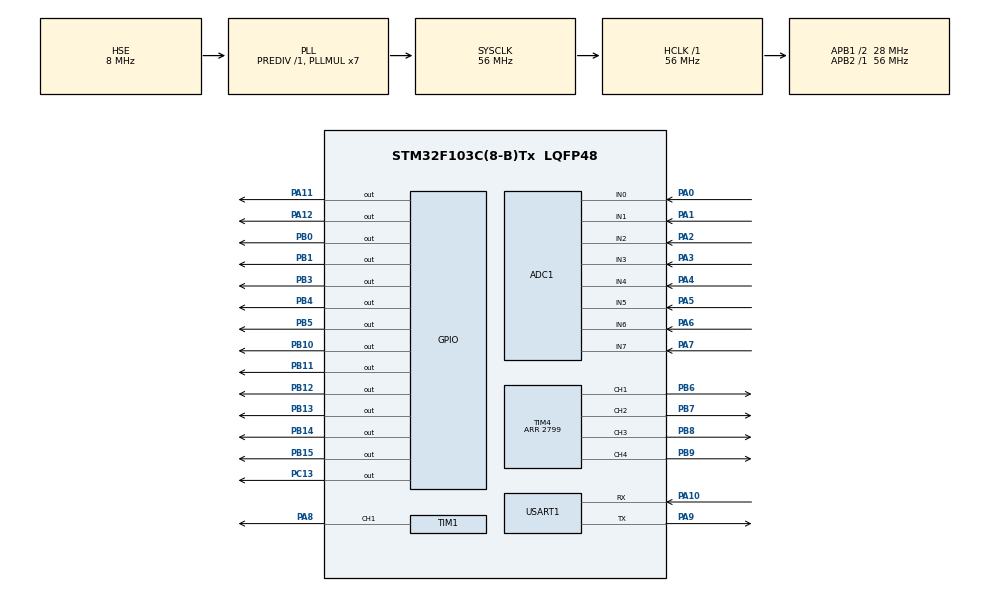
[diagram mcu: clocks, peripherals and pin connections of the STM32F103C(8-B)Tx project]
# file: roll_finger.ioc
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Mcu.Family=STM32F1
FREERTOS.Queues01=myQueue01,128,uint16_t,0,Dynamic,NULL,NULL
Dma.TIM2_CH1.2.MemInc=DMA_MINC_DISABLE
Dma.TIM2_CH1.2.PeriphDataAlignment=DMA_PDATAALIGN_HALFWORD
ADC1.Rank-14\#ChannelRegularConversion=6
FREERTOS.BinarySemaphores01=BinSem,Dynamic,NULL
NVIC.DMA1_Channel5_IRQn=true\:5\:0\:false\:false\:true\:true\:false\:true
ADC1.ContinuousConvMode=ENABLE
SH.ADCx_IN2.0=ADC1_IN2,IN2
PB11.Signal=GPIO_Output
ADC1.SamplingTime-12\#ChannelRegularConversion=ADC_SAMPLETIME_41CYCLES_5
PB13.Signal=GPIO_Output
PB15.Signal=GPIO_Output
Dma.TIM2_UP.3.Priority=DMA_PRIORITY_VERY_HIGH
ADC1.Channel-14\#ChannelRegularConversion=ADC_CHANNEL_7
ADC1.Channel-8\#ChannelRegularConversion=ADC_CHANNEL_1
RCC.SYSCLKSource=RCC_SYSCLKSOURCE_PLLCLK
ProjectManager.StackSize=0x400
PD1-OSC_OUT.Signal=RCC_OSC_OUT
Dma.TIM2_CH2/CH4.1.Direction=DMA_MEMORY_TO_PERIPH
Dma.TIM2_CH1.2.Mode=DMA_CIRCULAR
Dma.TIM2_CH1.2.PeriphInc=DMA_PINC_DISABLE
PA12.Signal=GPIO_Output
Dma.TIM2_UP.3.PeriphInc=DMA_PINC_DISABLE
Dma.TIM2_CH1.2.MemDataAlignment=DMA_MDATAALIGN_HALFWORD
RCC.HCLKFreq_Value=56000000
SH.ADCx_IN3.0=ADC1_IN3,IN3
Dma.TIM2_UP.3.Direction=DMA_MEMORY_TO_PERIPH
RCC.APB2TimFreq_Value=56000000
PB6.Signal=S_TIM4_CH1
Dma.ADC1.0.Direction=DMA_PERIPH_TO_MEMORY
Dma.TIM2_CH2/CH4.1.PeriphInc=DMA_PINC_DISABLE
Dma.ADC1.0.MemDataAlignment=DMA_MDATAALIGN_WORD
RCC.AHBFreq_Value=56000000
TIM4.Channel-PWM\ Generation3\ CH3=TIM_CHANNEL_3
FREERTOS.configUSE_TIMERS=1
VP_TIM2_VS_no_output1.Mode=PWM Generation1 No Output
TIM2.Channel-PWM\ Generation2\ No\ Output=TIM_CHANNEL_2
RCC.PLLMUL=RCC_PLL_MUL7
Dma.TIM2_UP.3.Mode=DMA_CIRCULAR
TIM1.Channel-PWM\ Generation1\ CH1=TIM_CHANNEL_1
PA14.Mode=Serial_Wire
Dma.ADC1.0.PeriphInc=DMA_PINC_DISABLE
SH.S_TIM4_CH2.0=TIM4_CH2,PWM Generation2 CH2
PB7.Signal=S_TIM4_CH2
PA8.Signal=S_TIM1_CH1
SH.ADCx_IN0.0=ADC1_IN0,IN0
TIM4.Period=2799
VP_FREERTOS_VS_CMSIS_V1.Mode=CMSIS_V1
ADC1.Channel-15\#ChannelRegularConversion=ADC_CHANNEL_6
FREERTOS.configTIMER_TASK_PRIORITY=5
VP_TIM1_VS_ClockSourceINT.Mode=Internal
ADC1.Rank-15\#ChannelRegularConversion=7
Dma.TIM2_UP.3.PeriphDataAlignment=DMA_PDATAALIGN_HALFWORD
Mcu.Package=LQFP48
PB9.Signal=S_TIM4_CH4
PB1.Signal=GPIO_Output
PA6.Signal=ADCx_IN6
ADC1.EnableInjectedConversion=DISABLE
NVIC.TimeBase=TIM3_IRQn
Dma.TIM2_CH2/CH4.1.MemInc=DMA_MINC_DISABLE
ADC1.SamplingTime-13\#ChannelRegularConversion=ADC_SAMPLETIME_41CYCLES_5
NVIC.TimeBaseIP=TIM3
PA10.Signal=USART1_RX
SH.ADCx_IN1.0=ADC1_IN1,IN1
ADC1.SamplingTime-15\#ChannelRegularConversion=ADC_SAMPLETIME_41CYCLES_5
Dma.TIM2_CH2/CH4.1.Instance=DMA1_Channel7
SH.S_TIM4_CH1.0=TIM4_CH1,PWM Generation1 CH1
Dma.Request2=TIM2_CH1
Dma.Request1=TIM2_CH2/CH4
RCC.APB1TimFreq_Value=56000000
Dma.Request3=TIM2_UP
TIM1.Period=2799
NVIC.USART1_IRQn=true\:5\:0\:false\:false\:true\:true\:true\:true
TIM4.Channel-PWM\ Generation4\ CH4=TIM_CHANNEL_4
Dma.Request0=ADC1
ADC1.SamplingTime-8\#ChannelRegularConversion=ADC_SAMPLETIME_41CYCLES_5
PB4.Signal=GPIO_Output
PA3.Signal=ADCx_IN3
RCC.PLLSourceVirtual=RCC_PLLSOURCE_HSE
TIM4.Channel-PWM\ Generation1\ CH1=TIM_CHANNEL_1
Dma.ADC1.0.Instance=DMA1_Channel1
FREERTOS.Tasks01=adcreader,0,128,adc_reader_task,Default,NULL,Dynamic,NULL,NULL;serialreader,2,128,serial_reader_task,Default,NULL,Dynamic,NULL,NULL
PD1-OSC_OUT.Mode=HSE-External-Oscillator
PA10.Mode=Asynchronous
Dma.TIM2_UP.3.MemDataAlignment=DMA_MDATAALIGN_HALFWORD
SH.ADCx_IN6.0=ADC1_IN6,IN6
SH.S_TIM4_CH4.0=TIM4_CH4,PWM Generation4 CH4
ADC1.Rank-8\#ChannelRegularConversion=2
PC13-TAMPER-RTC.Signal=GPIO_Output
Dma.TIM2_CH2/CH4.1.PeriphDataAlignment=DMA_PDATAALIGN_HALFWORD
PD0-OSC_IN.Signal=RCC_OSC_IN
ADC1.Channel-13\#ChannelRegularConversion=ADC_CHANNEL_4
RCC.APB1CLKDivider=RCC_HCLK_DIV2
Dma.TIM2_CH2/CH4.1.MemDataAlignment=DMA_MDATAALIGN_HALFWORD
PA0-WKUP.Signal=ADCx_IN0
ADC1.Channel-7\#ChannelRegularConversion=ADC_CHANNEL_0
Dma.TIM2_CH2/CH4.1.Priority=DMA_PRIORITY_VERY_HIGH
RCC.ADCPresc=RCC_ADCPCLK2_DIV4
PA13.Signal=SYS_JTMS-SWDIO
ADC1.Rank-13\#ChannelRegularConversion=5
Dma.ADC1.0.PeriphDataAlignment=DMA_PDATAALIGN_WORD
PA9.Mode=Asynchronous
VP_SYS_VS_tim3.Mode=TIM3
SH.S_TIM1_CH1.0=TIM1_CH1,PWM Generation1 CH1
NVIC.DMA1_Channel2_IRQn=true\:5\:0\:false\:false\:true\:true\:false\:true
ProjectManager.TargetToolchain=STM32CubeIDE
SH.ADCx_IN7.0=ADC1_IN7,IN7
Dma.ADC1.0.Mode=DMA_CIRCULAR
SH.S_TIM4_CH3.0=TIM4_CH3,PWM Generation3 CH3
Dma.ADC1.0.Priority=DMA_PRIORITY_LOW
PA9.Signal=USART1_TX
RCC.USBFreq_Value=56000000
PA1.Signal=ADCx_IN1
PD0-OSC_IN.Mode=HSE-External-Oscillator
PB10.Signal=GPIO_Output
PB14.Signal=GPIO_Output
PA5.Signal=ADCx_IN5
Dma.TIM2_CH1.2.Priority=DMA_PRIORITY_VERY_HIGH
board=custom
ADC1.Rank-12\#ChannelRegularConversion=4
ADC1.SamplingTime-14\#ChannelRegularConversion=ADC_SAMPLETIME_41CYCLES_5
NVIC.TIM3_IRQn=true\:0\:0\:false\:false\:true\:false\:false\:true
TIM4.Channel-PWM\ Generation2\ CH2=TIM_CHANNEL_2
ADC1.Channel-12\#ChannelRegularConversion=ADC_CHANNEL_3
RCC.APB2Freq_Value=56000000
VP_TIM2_VS_ClockSourceINT.Mode=Internal
SH.ADCx_IN4.0=ADC1_IN4,IN4
ADC1.Rank-9\#ChannelRegularConversion=3
ADC1.NbrOfConversion=7
PA13.Mode=Serial_Wire
VP_TIM2_VS_no_output2.Mode=PWM Generation2 No Output
Dma.TIM2_CH2/CH4.1.Mode=DMA_CIRCULAR
Mcu.Name=STM32F103C(8-B)Tx
PA2.Signal=ADCx_IN2
ADC1.Channel-9\#ChannelRegularConversion=ADC_CHANNEL_2
PB3.Signal=GPIO_Output
PA4.Signal=ADCx_IN4
RCC.SYSCLKFreq_VALUE=56000000
PB5.Signal=GPIO_Output
Dma.TIM2_UP.3.Instance=DMA1_Channel2
ADC1.master=1
Dma.TIM2_CH1.2.Direction=DMA_MEMORY_TO_PERIPH
Dma.TIM2_UP.3.MemInc=DMA_MINC_DISABLE
USART1.VirtualMode=VM_ASYNC
PA11.Signal=GPIO_Output
PA14.Signal=SYS_JTCK-SWCLK
Dma.ADC1.0.MemInc=DMA_MINC_ENABLE
ProjectManager.HeapSize=0x200
FREERTOS.Timers01=pidTimer,pid_timer,osTimerPeriodic,Default,NULL,Dynamic,NULL;statusUpdate,status_update_timer,osTimerPeriodic,Default,NULL,Dynamic,NULL
SH.ADCx_IN5.0=ADC1_IN5,IN5
VP_TIM4_VS_ClockSourceINT.Mode=Internal
ADC1.Rank-7\#ChannelRegularConversion=1
NVIC.PriorityGroup=NVIC_PRIORITYGROUP_4
ADC1.NbrOfConversionFlag=1
TIM2.Channel-PWM\ Generation1\ No\ Output=TIM_CHANNEL_1
ADC1.EnableRegularConversion=ENABLE
PB8.Signal=S_TIM4_CH3
NVIC.DMA1_Channel7_IRQn=true\:5\:0\:false\:false\:true\:true\:false\:true
ADC1.SamplingTime-9\#ChannelRegularConversion=ADC_SAMPLETIME_55CYCLES_5
ADC1.SamplingTime-7\#ChannelRegularConversion=ADC_SAMPLETIME_41CYCLES_5
NVIC.DMA1_Channel1_IRQn=true\:5\:0\:false\:false\:true\:true\:false\:true
RCC.APB1Freq_Value=28000000
PB0.Signal=GPIO_Output
PB12.Signal=GPIO_Output
PA7.Signal=ADCx_IN7
Dma.TIM2_CH1.2.Instance=DMA1_Channel5

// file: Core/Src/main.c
/* USER CODE BEGIN Header */
/**
  ******************************************************************************
  * @file           : main.c
  * @brief          : Main program body
  ******************************************************************************
  * @attention
  *
  * <h2><center>&copy; Copyright (c) 2020 STMicroelectronics.
  * All rights reserved.</center></h2>
  *
  * This software component is licensed by ST under BSD 3-Clause license,
  * the "License"; You may not use this file except in compliance with the
  * License. You may obtain a copy of the License at:
  *                        opensource.org/licenses/BSD-3-Clause
  *
  ******************************************************************************
  */
/* USER CODE END Header */
#include "main.h"
#include "cmsis_os.h"

/* USER CODE BEGIN Includes */
#include <string.h>
#include "ws2812_led.h"
#include <stdlib.h>
/* USER CODE END Includes */

/* USER CODE BEGIN PTD */

// framebuffer for the two sets of RGB LEDs
#define FRAMEBUFFER_SIZE        24 //24led * 3 colors
#define FRAMEBUFFER2_SIZE        19 //24led * 3 colors

#define UART_TX_BUFFER_SIZE	 256

/* USER CODE END PTD */

ADC_HandleTypeDef hadc1;
DMA_HandleTypeDef hdma_adc1;

TIM_HandleTypeDef htim1;
TIM_HandleTypeDef htim2;
TIM_HandleTypeDef htim4;
DMA_HandleTypeDef hdma_tim2_ch2_ch4;
DMA_HandleTypeDef hdma_tim2_ch1;
DMA_HandleTypeDef hdma_tim2_up;

osThreadId adcreaderHandle;
osThreadId serialreaderHandle;
osMessageQId myQueue01Handle;
osTimerId pidTimerHandle;
osTimerId statusUpdateHandle;
osSemaphoreId BinSemHandle;

void SystemClock_Config(void);
static void MX_GPIO_Init(void);
static void MX_DMA_Init(void);
static void MX_USART1_UART_Init(void);
static void MX_ADC1_Init(void);
static void MX_TIM2_Init(void);
static void MX_TIM4_Init(void);
static void MX_TIM1_Init(void);
void adc_reader_task(void const * argument);
void serial_reader_task(void const * argument);
void pid_timer(void const * argument);
void status_update_timer(void const * argument);

/* USER CODE BEGIN 0 */

// array to hold values of ADC input ports
uint32_t adc_value[7];

// RGB LED structs
struct pixel {
    uint8_t g;
    uint8_t r;
    uint8_t b;
};
struct pixel channel_framebuffers[WS2812_NUM_CHANNELS][FRAMEBUFFER_SIZE];

// UART TX buffers
uint16_t uartTXBufferIndex = 0;
uint16_t uartTXBufferLength = 0;
uint8_t uartTXBuffer[UART_TX_BUFFER_SIZE];

//flags that are set to indicate whether motors  are
// moving and their direction.
int lrw = 0; // LEFT REVERSE
int lfw = 0; // LEFT FORWARD
int rfw = 0; // RIGHT FORWARD
int rrw = 0; // RIGHT REVERSE
int mgo = 0; // GRIPPER OPENING
int mgc = 0; // GRIPPER CLOSING

//flags to enable/disable PID loops
int lPid = 0;
int rPid = 0;
int gPid = 0;

// for LF & RF Max when extended ; Min when retracted
int LFMaxPos = 3900;
int LFMinPos = 200;
int RFMaxPos = 3900;
int RFMinPos = 200;
// for M1 & M2 Min when extended ; Max when retracted
// fully open at minpos and closed at maxpos
// when closed, value depends on finger geometry. Example values
// when closed is 3299, 3699
/* -----||----- 3299, 3699(gap 0 )
 * ----|  | ---3000,3200 (gap = (3299-3000) + (3699-3200))
 *--|         |-- at full open, theoretical max gap = ((3850-430)+(3850-380)) = 6890
 * so we will scale 0 to 6890 into 0 to 999
 *
 *
 */
int M1MinPos = 430;
int M1MaxPos = 3850;
int M2MinPos = 380;
int M2MaxPos = 3850;
//M1 and M2 positions for zero gap
int M1z = 3850;
int M2z = 3850;
int gripperGapcmd = 0;
int gripperGapDelta = 2;
int GapMax = 6890;
//PID params for gripper gap control
double g_error_prev=0;
double g_error_integral = 0;
double g_Kp = 1.5;
double g_Kd = 0.005;//0.5;
double g_Ki = 0;//0.0001;

//gripper gap value limits
int gmin = 3500; // -value when closed - depends on finger geometry
int gmax=6500; // value when fully open

// Desired positions & currents
int lPosDesired =0;
int rPosDesired =0;
int gCurDesired = 0;

// Delta position & currents allowed
int lPosDelta = 10;
int rPosDelta = 10;
int gCurDelta = 10;

// Motor control PID loop time period in milliseconds
// with t = 10, PID runs at 100 Hz
// with t = 5, PID runs at 200 Hz
// with t = 2, PID runs at 500 Hz
uint8_t pid_time_period = 2;

// L & R Finger PID parameters
double l_error_prev=0;
double l_error_integral = 0;
double l_Kp = 1.0;
double l_Kd = 0.8;
double l_Ki = 0.00001;
double r_error_prev=0;
double r_error_integral = 0;
double r_Kp = 1.0;
double r_Kd = 0.8;
double r_Ki = 0.00001;

// gripper motor params
int gForceThres = 0;
int gTimeOut = 10000; // 10 second timeout for gripper to reach threshold current
int startTick = 0;

// IR proximity sensors and the buffers to hold data
int num_irsensors = 10;
int irdata_fl[10];
int irdata_fr[10];
int data_fl_real, data_fr_real, data_fl_noise,data_fr_noise,data_fl,data_fr;

// set the RGB LEDs on Finger 1
void lightupLED1(struct pixel *framebuffer)
{
	for(int i=0;i<5;i++)
	{
		framebuffer[i].r=0;
		framebuffer[i].g=0;
		framebuffer[i].b=255;
	}
	for(int i=5;i<12;i++)
	{
		framebuffer[i].r=0;
		framebuffer[i].g=255;
		framebuffer[i].b=0;
	}
	for(int i=12;i<17;i++)
	{
		framebuffer[i].r=0;
		framebuffer[i].g=0;
		framebuffer[i].b=0;
	}
	for(int i=17;i<24;i++)
	{
		framebuffer[i].r=255;
		framebuffer[i].g=0;
		framebuffer[i].b=0;
	}
}
// set the RGB LEDs on Finger 2
void lightupLED2(struct pixel *framebuffer)
{
	for(int i=0;i<5;i++)
	{
		framebuffer[i].r=0;
		framebuffer[i].g=0;
		framebuffer[i].b=255;
	}
	for(int i=5;i<12;i++)
	{
		framebuffer[i].r=0;
		framebuffer[i].g=255;
		framebuffer[i].b=0;
	}
	for(int i=12;i<19;i++)
	{
		framebuffer[i].r=255;
		framebuffer[i].g=0;
		framebuffer[i].b=0;
	}
}

void open_gripper(int pwmval)
{

	if((adc_value[3]>M1MinPos)||(adc_value[4]>M2MinPos))
	{
		osSemaphoreWait(BinSemHandle, osWaitForever);
		mgo=1;
		pwmval = scale_val(pwmval,0,100, 0, 2800);
		__HAL_TIM_SetCompare(&htim1, TIM_CHANNEL_1, pwmval);

		HAL_GPIO_WritePin(GPIOB, GPIO_PIN_4, GPIO_PIN_SET);
		HAL_GPIO_WritePin(GPIOB, GPIO_PIN_3, GPIO_PIN_RESET);
		osSemaphoreRelease(BinSemHandle);
	}
}

void close_gripper(int pwmval)
{

	if((adc_value[3]<M1MaxPos)||(adc_value[4]<M2MaxPos))
	{
		osSemaphoreWait(BinSemHandle, osWaitForever);
		mgc=1;
		pwmval = scale_val(pwmval,0,100, 0, 2800);
		__HAL_TIM_SetCompare(&htim1, TIM_CHANNEL_1, pwmval);

		HAL_GPIO_WritePin(GPIOB, GPIO_PIN_3, GPIO_PIN_SET);
		HAL_GPIO_WritePin(GPIOB, GPIO_PIN_4, GPIO_PIN_RESET);
		osSemaphoreRelease(BinSemHandle);

	}

}
void brake_lf()
{
	__HAL_TIM_SetCompare(&htim4, TIM_CHANNEL_1, 2800);
  	__HAL_TIM_SetCompare(&htim4, TIM_CHANNEL_2, 2800);
}
void brake_rf()
{
	__HAL_TIM_SetCompare(&htim4, TIM_CHANNEL_3, 2800);
  	__HAL_TIM_SetCompare(&htim4, TIM_CHANNEL_4, 2800);
}
void stop_lf()
{
	__HAL_TIM_SetCompare(&htim4, TIM_CHANNEL_1, 0);
  	__HAL_TIM_SetCompare(&htim4, TIM_CHANNEL_2, 0);
}

void stop_rf()
{
  	__HAL_TIM_SetCompare(&htim4, TIM_CHANNEL_3, 0);
  	__HAL_TIM_SetCompare(&htim4, TIM_CHANNEL_4, 0);
}
void brake_gripper()
{
	//reset the GPIO for open-close motors
	HAL_GPIO_WritePin(GPIOB, GPIO_PIN_4, GPIO_PIN_RESET);
	HAL_GPIO_WritePin(GPIOB, GPIO_PIN_3, GPIO_PIN_RESET);
	__HAL_TIM_SetCompare(&htim1, TIM_CHANNEL_1, 2800);
}
void stop_gripper()
{
	//reset the GPIO for open-close motors
	HAL_GPIO_WritePin(GPIOB, GPIO_PIN_4, GPIO_PIN_RESET);
	HAL_GPIO_WritePin(GPIOB, GPIO_PIN_3, GPIO_PIN_RESET);
	__HAL_TIM_SetCompare(&htim1, TIM_CHANNEL_1, 0);
}
void brake_all()
{/*Stops all motors -  shorts motor terminals -  cannot move by hand*/

	//set the GPIO for open-close motors
	HAL_GPIO_WritePin(GPIOB, GPIO_PIN_4, GPIO_PIN_SET);
	HAL_GPIO_WritePin(GPIOB, GPIO_PIN_3, GPIO_PIN_SET);

	//set all PWMs to 2800 - pin high - brake
	__HAL_TIM_SetCompare(&htim4, TIM_CHANNEL_1, 2800);
  	__HAL_TIM_SetCompare(&htim4, TIM_CHANNEL_2, 2800);
  	__HAL_TIM_SetCompare(&htim4, TIM_CHANNEL_3, 2800);
  	__HAL_TIM_SetCompare(&htim4, TIM_CHANNEL_4, 2800);
  	__HAL_TIM_SetCompare(&htim1, TIM_CHANNEL_1, 2800);

}
void stop_all()
{/*Stops all motors -  disconnects motor terminals -  can move by hand*/

	//reset the GPIO for open-close motors
	HAL_GPIO_WritePin(GPIOB, GPIO_PIN_4, GPIO_PIN_RESET);
	HAL_GPIO_WritePin(GPIOB, GPIO_PIN_3, GPIO_PIN_RESET);

	//set all PWMs to 2800 - pin high - brake
	__HAL_TIM_SetCompare(&htim4, TIM_CHANNEL_1, 0);
  	__HAL_TIM_SetCompare(&htim4, TIM_CHANNEL_2, 0);
  	__HAL_TIM_SetCompare(&htim4, TIM_CHANNEL_3, 0);
  	__HAL_TIM_SetCompare(&htim4, TIM_CHANNEL_4, 0);
  	__HAL_TIM_SetCompare(&htim1, TIM_CHANNEL_1, 0);

}

void move_lf(int pwmval)
{
	//	Check whether we are at the end positions
		//LF pos given by adc_value[6]
		// min value is around 100, max value 4000, so we set limits as 120 and 3900
		//scale the value from 0 to 100 => 0 to 2800
	if(adc_value[6]<LFMaxPos)
	{
		//HAL_UART_Transmit(&huart1, (uint8_t*)buffer, sprintf(buffer, "S1 %d  %d \n", adc_value[6],isMoveF_LF ), 100);
		osSemaphoreWait(BinSemHandle, osWaitForever);
		// set the moving flag
		lfw= 1;

		pwmval = scale_val(pwmval,0,100, 0, 2800);
		__HAL_TIM_SetCompare(&htim4, TIM_CHANNEL_1, 0);
		__HAL_TIM_SetCompare(&htim4, TIM_CHANNEL_2, pwmval);
		osSemaphoreRelease(BinSemHandle);
		//HAL_UART_Transmit(&huart1, (uint8_t*)buffer, sprintf(buffer, "S2 %d  %d \n", adc_value[6],isMoveF_LF ), 100);
	}

}

void move_lb(int pwmval)
{
	if(adc_value[6]>LFMinPos)
	{
		osSemaphoreWait(BinSemHandle, osWaitForever);
		//isMoveB_LF = 1;
		lrw=1;
		//scale the value from 0 to 100 => 0 to 2800
		pwmval = scale_val(pwmval,0,100, 0, 2800);
		__HAL_TIM_SetCompare(&htim4, TIM_CHANNEL_1, pwmval);
		__HAL_TIM_SetCompare(&htim4, TIM_CHANNEL_2, 0);
		osSemaphoreRelease(BinSemHandle);

	}

}

void move_rf(int pwmval)
{
	//	Check whether we are at the end positions
		//LF pos given by adc_value[6]
		// min value is around 100, max value 4000, so we set limits as 120 and 3900
		//scale the value from 0 to 100 => 0 to 2800
	if(adc_value[5]<RFMaxPos)
	{
		//HAL_UART_Transmit(&huart1, (uint8_t*)buffer, sprintf(buffer, "S1 %d  %d \n", adc_value[6],isMoveF_LF ), 100);
		osSemaphoreWait(BinSemHandle, osWaitForever);
		// set the moving flag
		rfw= 1;

		pwmval = scale_val(pwmval,0,100, 0, 2800);
		__HAL_TIM_SetCompare(&htim4, TIM_CHANNEL_3, 0);
		__HAL_TIM_SetCompare(&htim4, TIM_CHANNEL_4, pwmval);
		osSemaphoreRelease(BinSemHandle);
		//HAL_UART_Transmit(&huart1, (uint8_t*)buffer, sprintf(buffer, "S2 %d  %d \n", adc_value[6],isMoveF_LF ), 100);
	}

}

void move_rb(int pwmval)
{
	if(adc_value[5]>RFMinPos)
	{
		osSemaphoreWait(BinSemHandle, osWaitForever);
		//isMoveB_LF = 1;
		rrw=1;
		//scale the value from 0 to 100 => 0 to 2800
		pwmval = scale_val(pwmval,0,100, 0, 2800);
		__HAL_TIM_SetCompare(&htim4, TIM_CHANNEL_3, pwmval);
		__HAL_TIM_SetCompare(&htim4, TIM_CHANNEL_4, 0);
		osSemaphoreRelease(BinSemHandle);

	}

}

void ir_led_on()
{
	HAL_GPIO_WritePin(GPIOB, GPIO_PIN_5, GPIO_PIN_SET);
}

void ir_led_off()
{
	  HAL_GPIO_WritePin(GPIOB, GPIO_PIN_5, GPIO_PIN_RESET);

}

void set_mux_fl(value)
{
	HAL_GPIO_WritePin(GPIOB, GPIO_PIN_12, value & 0b0001);
	HAL_GPIO_WritePin(GPIOB, GPIO_PIN_13, value & 0b0010);
	HAL_GPIO_WritePin(GPIOB, GPIO_PIN_14, value & 0b0100);
	HAL_GPIO_WritePin(GPIOB, GPIO_PIN_15, value & 0b1000);
}
void set_mux_fr(value)
{
	  HAL_GPIO_WritePin(GPIOB, GPIO_PIN_10, value & 0b0001);
	  HAL_GPIO_WritePin(GPIOB, GPIO_PIN_11, value & 0b0010);
	  HAL_GPIO_WritePin(GPIOA, GPIO_PIN_12, value & 0b0100);
	  HAL_GPIO_WritePin(GPIOA, GPIO_PIN_11, value & 0b1000);
}

int scale_val(int inval, int inmin, int inmax, int outmin, int outmax)
{
	if (inval>=inmax)
	{
		inval = inmax;
	}
	else if(inval<=inmin)
	{
		inval =inmin;
	}

	double slope = 1.0 * (outmax - outmin) / (inmax - inmin);
	return outmin + slope * (inval - inmin);
}

int clamp_val(int inval, int minval, int maxval)
{
	if(inval<minval)
	{
		return minval;
	}
	else if(inval>maxval)
	{
		return maxval;
	}
	else
		return inval;
}

// send data to uart
uint8_t sendData(char* str)
{
	// check whether the buffer is empty after previous transmission
	if(uartTXBufferLength==0)
	{
		uartTXBufferLength = strlen(str);
		uartTXBufferIndex = 0;
		for(int i = 0;i<uartTXBufferLength;i++)
		{
			uartTXBuffer[i]=*str;
			++str;
		}
		//Transmit the first byte, and increment the index
		LL_USART_TransmitData8(USART1, uartTXBuffer[uartTXBufferIndex++]);
		// Enable Interrupt and let it handle the rest
		LL_USART_EnableIT_TXE(USART1);
	}
	else
	{
		// Buffer full, so return error
		return 1;
	}
	return 0 ;
}

/*The following function handles the UART ISR
Open stm32f1xx_it.c and add the following line inside "void USART1_IRQHandler(void)"
 	 LL_USART1_IRQHandler();
*/
void LL_USART1_IRQHandler()
{	// RX Interrupt
	if(LL_USART_IsActiveFlag_RXNE(USART1) == 0x01)
		{
			int data = LL_USART_ReceiveData8(USART1);
			osMessagePut(myQueue01Handle, data, osWaitForever);
		}
	// TX Interrupt
	if(LL_USART_IsEnabledIT_TXE(USART1) == 0x01 && LL_USART_IsActiveFlag_TXE(USART1) == 0x01)
		{
		//check whether we have transmitted all data in the TX  buffer
		if(uartTXBufferIndex>=uartTXBufferLength)
			{
			//if so, reset the buffer length and index
			uartTXBufferLength = 0;
			uartTXBufferIndex = 0;
			//Disable TX done interrupt
			LL_USART_DisableIT_TXE(USART1);
			}
		else
			{
			//Transmit another byte
			LL_USART_TransmitData8(USART1, uartTXBuffer[uartTXBufferIndex++]);
			}
		}
}

/* USER CODE END 0 */

int main(void)
{

  /* MCU Configuration--------------------------------------------------------*/

  /* Reset of all peripherals, Initializes the Flash interface and the Systick. */
  HAL_Init();

  /* Configure the system clock */
  SystemClock_Config();

  /* Initialize all configured peripherals */
  MX_GPIO_Init();
  MX_DMA_Init();
  MX_USART1_UART_Init();
  MX_ADC1_Init();
  MX_TIM2_Init();
  MX_TIM4_Init();
  MX_TIM1_Init();
  /* USER CODE BEGIN 2 */
  //start ADC conversations
  HAL_ADC_Start_DMA(&hadc1, adc_value, 7);

  // Start UART interrupts
  /* When UART gets 5 bytes, it calls the function
   * HAL_UART_RxCpltCallback(
   *
   */
  //if(uart_cmd_full=1)
  //{
  //HAL_UART_Receive_IT(&huart1, UART1_rxBuffer, 5);
  //}
  //else
  //{
	 // HAL_UART_Receive_IT(&huart1, UART1_rxBuffer, 5);
  //}
  //START PWM TIMERS
  /* PWM frequency is set  =Fclk/((ARR+1)*(PSC+1))
   *	Fclk =  clock frequency
   *	ARR = Counter Period (AutoReload Register - 16 bits value, set from Timer-> Parameter Settings
   *	PSC  =  Prescaler value, set from Timer-> Parameter Settings
   *
   *	so for 20Khz,
   *		20000 = 56000000/x
   *		x = 2800, so ARR  =  2799 and PSC=0
   *		now, 2800 will correspond to 100% pwm and can be set either by
   *		TIM4->CCR1 = pwm_value;
   *		or
   *		__HAL_TIM_SetCompare(&htim4, TIM_CHANNEL_1, pwm_value);
   *
   */
  HAL_TIM_Base_Start(&htim4);
  HAL_TIM_Base_Start(&htim1);

  HAL_TIM_PWM_Start(&htim4,TIM_CHANNEL_1);
  HAL_TIM_PWM_Start(&htim4,TIM_CHANNEL_2);
  HAL_TIM_PWM_Start(&htim4,TIM_CHANNEL_3);
  HAL_TIM_PWM_Start(&htim4,TIM_CHANNEL_4);
  HAL_TIM_PWM_Start(&htim1,TIM_CHANNEL_1);

  	__HAL_TIM_SetCompare(&htim4, TIM_CHANNEL_1, 0);
  	__HAL_TIM_SetCompare(&htim4, TIM_CHANNEL_2, 0);
  	__HAL_TIM_SetCompare(&htim4, TIM_CHANNEL_3, 0);
  	__HAL_TIM_SetCompare(&htim4, TIM_CHANNEL_4, 0);
  	__HAL_TIM_SetCompare(&htim1, TIM_CHANNEL_1, 0);

  struct led_channel_info led_channels[WS2812_NUM_CHANNELS];

  HAL_Delay(200);

//INITIALIZE NEOPIXELS
      //channel 0
      led_channels[0].framebuffer = channel_framebuffers[0];
      led_channels[0].length = FRAMEBUFFER_SIZE * sizeof(struct pixel);

      //channel1
      led_channels[1].framebuffer = channel_framebuffers[1];
      led_channels[1].length = FRAMEBUFFER2_SIZE * sizeof(struct pixel);

      HAL_Delay(200);
      ws2812_init();
      HAL_Delay(200);
      // SETUP LED COLORS
      lightupLED1(channel_framebuffers[0]);
      lightupLED2(channel_framebuffers[1]);
      // we have to disable interrupts while refreshing LEDs
   	  __disable_irq();
   	  ws2812_refresh(led_channels, GPIOB);
   	  __enable_irq();

  /* USER CODE END 2 */

  /* Create the semaphores(s) */
  /* definition and creation of BinSem */
  osSemaphoreDef(BinSem);
  BinSemHandle = osSemaphoreCreate(osSemaphore(BinSem), 1);

  /* Create the timer(s) */
  /* definition and creation of pidTimer */
  osTimerDef(pidTimer, pid_timer);
  pidTimerHandle = osTimerCreate(osTimer(pidTimer), osTimerPeriodic, NULL);

  /* definition and creation of statusUpdate */
  osTimerDef(statusUpdate, status_update_timer);
  statusUpdateHandle = osTimerCreate(osTimer(statusUpdate), osTimerPeriodic, NULL);

  /* USER CODE BEGIN RTOS_TIMERS */
  /* start timers, add new ones, ... */
  // PID timer runs at 200hz
  osTimerStart(pidTimerHandle, pid_time_period);
  //status update timer runs at 100 hz
  osTimerStart(statusUpdateHandle, 10);
  /* USER CODE END RTOS_TIMERS */

  /* Create the queue(s) */
  /* definition and creation of myQueue01 */
  osMessageQDef(myQueue01, 128, uint16_t);
  myQueue01Handle = osMessageCreate(osMessageQ(myQueue01), NULL);

  /* Create the thread(s) */
  /* definition and creation of adcreader */
  //ADC Reader task is disabled in noir
 // osThreadDef(adcreader, adc_reader_task, osPriorityNormal, 0, 128);
 // adcreaderHandle = osThreadCreate(osThread(adcreader), NULL);

  /* definition and creation of serialreader */
  osThreadDef(serialreader, serial_reader_task, osPriorityHigh, 0, 128);
  serialreaderHandle = osThreadCreate(osThread(serialreader), NULL);

  /* Start scheduler */
  osKernelStart();

  /* We should never get here as control is now taken by the scheduler */
  /* Infinite loop */
  /* USER CODE BEGIN WHILE */
  while (1)
  {

	  //sendData("hello world");
    /* USER CODE END WHILE */

  }
}

void SystemClock_Config(void)
{
  RCC_OscInitTypeDef RCC_OscInitStruct = {0};
  RCC_ClkInitTypeDef RCC_ClkInitStruct = {0};
  RCC_PeriphCLKInitTypeDef PeriphClkInit = {0};

  /** Initializes the RCC Oscillators according to the specified parameters
  * in the RCC_OscInitTypeDef structure.
  */
  RCC_OscInitStruct.OscillatorType = RCC_OSCILLATORTYPE_HSE;
  RCC_OscInitStruct.HSEState = RCC_HSE_ON;
  RCC_OscInitStruct.HSEPredivValue = RCC_HSE_PREDIV_DIV1;
  RCC_OscInitStruct.HSIState = RCC_HSI_ON;
  RCC_OscInitStruct.PLL.PLLState = RCC_PLL_ON;
  RCC_OscInitStruct.PLL.PLLSource = RCC_PLLSOURCE_HSE;
  RCC_OscInitStruct.PLL.PLLMUL = RCC_PLL_MUL7;
  if (HAL_RCC_OscConfig(&RCC_OscInitStruct) != HAL_OK)
  {
    Error_Handler();
  }
  /** Initializes the CPU, AHB and APB buses clocks
  */
  RCC_ClkInitStruct.ClockType = RCC_CLOCKTYPE_HCLK|RCC_CLOCKTYPE_SYSCLK
                              |RCC_CLOCKTYPE_PCLK1|RCC_CLOCKTYPE_PCLK2;
  RCC_ClkInitStruct.SYSCLKSource = RCC_SYSCLKSOURCE_PLLCLK;
  RCC_ClkInitStruct.AHBCLKDivider = RCC_SYSCLK_DIV1;
  RCC_ClkInitStruct.APB1CLKDivider = RCC_HCLK_DIV2;
  RCC_ClkInitStruct.APB2CLKDivider = RCC_HCLK_DIV1;

  if (HAL_RCC_ClockConfig(&RCC_ClkInitStruct, FLASH_LATENCY_2) != HAL_OK)
  {
    Error_Handler();
  }
  PeriphClkInit.PeriphClockSelection = RCC_PERIPHCLK_ADC;
  PeriphClkInit.AdcClockSelection = RCC_ADCPCLK2_DIV4;
  if (HAL_RCCEx_PeriphCLKConfig(&PeriphClkInit) != HAL_OK)
  {
    Error_Handler();
  }
}

static void MX_ADC1_Init(void)
{

  ADC_ChannelConfTypeDef sConfig = {0};

  /** Common config
  */
  hadc1.Instance = ADC1;
  hadc1.Init.ScanConvMode = ADC_SCAN_ENABLE;
  hadc1.Init.ContinuousConvMode = ENABLE;
  hadc1.Init.DiscontinuousConvMode = DISABLE;
  hadc1.Init.ExternalTrigConv = ADC_SOFTWARE_START;
  hadc1.Init.DataAlign = ADC_DATAALIGN_RIGHT;
  hadc1.Init.NbrOfConversion = 7;
  if (HAL_ADC_Init(&hadc1) != HAL_OK)
  {
    Error_Handler();
  }
  /** Configure Regular Channel
  */
  sConfig.Channel = ADC_CHANNEL_0;
  sConfig.Rank = ADC_REGULAR_RANK_1;
  sConfig.SamplingTime = ADC_SAMPLETIME_41CYCLES_5;
  if (HAL_ADC_ConfigChannel(&hadc1, &sConfig) != HAL_OK)
  {
    Error_Handler();
  }
  /** Configure Regular Channel
  */
  sConfig.Channel = ADC_CHANNEL_1;
  sConfig.Rank = ADC_REGULAR_RANK_2;
  if (HAL_ADC_ConfigChannel(&hadc1, &sConfig) != HAL_OK)
  {
    Error_Handler();
  }
  /** Configure Regular Channel
  */
  sConfig.Channel = ADC_CHANNEL_2;
  sConfig.Rank = ADC_REGULAR_RANK_3;
  sConfig.SamplingTime = ADC_SAMPLETIME_55CYCLES_5;
  if (HAL_ADC_ConfigChannel(&hadc1, &sConfig) != HAL_OK)
  {
    Error_Handler();
  }
  /** Configure Regular Channel
  */
  sConfig.Channel = ADC_CHANNEL_3;
  sConfig.Rank = ADC_REGULAR_RANK_4;
  sConfig.SamplingTime = ADC_SAMPLETIME_41CYCLES_5;
  if (HAL_ADC_ConfigChannel(&hadc1, &sConfig) != HAL_OK)
  {
    Error_Handler();
  }
  /** Configure Regular Channel
  */
  sConfig.Channel = ADC_CHANNEL_4;
  sConfig.Rank = ADC_REGULAR_RANK_5;
  if (HAL_ADC_ConfigChannel(&hadc1, &sConfig) != HAL_OK)
  {
    Error_Handler();
  }
  /** Configure Regular Channel
  */
  sConfig.Channel = ADC_CHANNEL_7;
  sConfig.Rank = ADC_REGULAR_RANK_6;
  if (HAL_ADC_ConfigChannel(&hadc1, &sConfig) != HAL_OK)
  {
    Error_Handler();
  }
  /** Configure Regular Channel
  */
  sConfig.Channel = ADC_CHANNEL_6;
  sConfig.Rank = ADC_REGULAR_RANK_7;
  if (HAL_ADC_ConfigChannel(&hadc1, &sConfig) != HAL_OK)
  {
    Error_Handler();
  }

}

static void MX_TIM1_Init(void)
{

  TIM_ClockConfigTypeDef sClockSourceConfig = {0};
  TIM_MasterConfigTypeDef sMasterConfig = {0};
  TIM_OC_InitTypeDef sConfigOC = {0};
  TIM_BreakDeadTimeConfigTypeDef sBreakDeadTimeConfig = {0};

  htim1.Instance = TIM1;
  htim1.Init.Prescaler = 0;
  htim1.Init.CounterMode = TIM_COUNTERMODE_UP;
  htim1.Init.Period = 2799;
  htim1.Init.ClockDivision = TIM_CLOCKDIVISION_DIV1;
  htim1.Init.RepetitionCounter = 0;
  htim1.Init.AutoReloadPreload = TIM_AUTORELOAD_PRELOAD_DISABLE;
  if (HAL_TIM_Base_Init(&htim1) != HAL_OK)
  {
    Error_Handler();
  }
  sClockSourceConfig.ClockSource = TIM_CLOCKSOURCE_INTERNAL;
  if (HAL_TIM_ConfigClockSource(&htim1, &sClockSourceConfig) != HAL_OK)
  {
    Error_Handler();
  }
  if (HAL_TIM_PWM_Init(&htim1) != HAL_OK)
  {
    Error_Handler();
  }
  sMasterConfig.MasterOutputTrigger = TIM_TRGO_RESET;
  sMasterConfig.MasterSlaveMode = TIM_MASTERSLAVEMODE_DISABLE;
  if (HAL_TIMEx_MasterConfigSynchronization(&htim1, &sMasterConfig) != HAL_OK)
  {
    Error_Handler();
  }
  sConfigOC.OCMode = TIM_OCMODE_PWM1;
  sConfigOC.Pulse = 0;
  sConfigOC.OCPolarity = TIM_OCPOLARITY_HIGH;
  sConfigOC.OCNPolarity = TIM_OCNPOLARITY_HIGH;
  sConfigOC.OCFastMode = TIM_OCFAST_DISABLE;
  sConfigOC.OCIdleState = TIM_OCIDLESTATE_RESET;
  sConfigOC.OCNIdleState = TIM_OCNIDLESTATE_RESET;
  if (HAL_TIM_PWM_ConfigChannel(&htim1, &sConfigOC, TIM_CHANNEL_1) != HAL_OK)
  {
    Error_Handler();
  }
  sBreakDeadTimeConfig.OffStateRunMode = TIM_OSSR_DISABLE;
  sBreakDeadTimeConfig.OffStateIDLEMode = TIM_OSSI_DISABLE;
  sBreakDeadTimeConfig.LockLevel = TIM_LOCKLEVEL_OFF;
  sBreakDeadTimeConfig.DeadTime = 0;
  sBreakDeadTimeConfig.BreakState = TIM_BREAK_DISABLE;
  sBreakDeadTimeConfig.BreakPolarity = TIM_BREAKPOLARITY_HIGH;
  sBreakDeadTimeConfig.AutomaticOutput = TIM_AUTOMATICOUTPUT_DISABLE;
  if (HAL_TIMEx_ConfigBreakDeadTime(&htim1, &sBreakDeadTimeConfig) != HAL_OK)
  {
    Error_Handler();
  }
  HAL_TIM_MspPostInit(&htim1);

}

static void MX_TIM2_Init(void)
{

  TIM_ClockConfigTypeDef sClockSourceConfig = {0};
  TIM_MasterConfigTypeDef sMasterConfig = {0};
  TIM_OC_InitTypeDef sConfigOC = {0};

  htim2.Instance = TIM2;
  htim2.Init.Prescaler = 0;
  htim2.Init.CounterMode = TIM_COUNTERMODE_UP;
  htim2.Init.Period = 65535;
  htim2.Init.ClockDivision = TIM_CLOCKDIVISION_DIV1;
  htim2.Init.AutoReloadPreload = TIM_AUTORELOAD_PRELOAD_DISABLE;
  if (HAL_TIM_Base_Init(&htim2) != HAL_OK)
  {
    Error_Handler();
  }
  sClockSourceConfig.ClockSource = TIM_CLOCKSOURCE_INTERNAL;
  if (HAL_TIM_ConfigClockSource(&htim2, &sClockSourceConfig) != HAL_OK)
  {
    Error_Handler();
  }
  if (HAL_TIM_PWM_Init(&htim2) != HAL_OK)
  {
    Error_Handler();
  }
  sMasterConfig.MasterOutputTrigger = TIM_TRGO_RESET;
  sMasterConfig.MasterSlaveMode = TIM_MASTERSLAVEMODE_DISABLE;
  if (HAL_TIMEx_MasterConfigSynchronization(&htim2, &sMasterConfig) != HAL_OK)
  {
    Error_Handler();
  }
  sConfigOC.OCMode = TIM_OCMODE_PWM1;
  sConfigOC.Pulse = 0;
  sConfigOC.OCPolarity = TIM_OCPOLARITY_HIGH;
  sConfigOC.OCFastMode = TIM_OCFAST_DISABLE;
  if (HAL_TIM_PWM_ConfigChannel(&htim2, &sConfigOC, TIM_CHANNEL_1) != HAL_OK)
  {
    Error_Handler();
  }
  if (HAL_TIM_PWM_ConfigChannel(&htim2, &sConfigOC, TIM_CHANNEL_2) != HAL_OK)
  {
    Error_Handler();
  }

}

static void MX_TIM4_Init(void)
{

  TIM_ClockConfigTypeDef sClockSourceConfig = {0};
  TIM_MasterConfigTypeDef sMasterConfig = {0};
  TIM_OC_InitTypeDef sConfigOC = {0};

  htim4.Instance = TIM4;
  htim4.Init.Prescaler = 0;
  htim4.Init.CounterMode = TIM_COUNTERMODE_UP;
  htim4.Init.Period = 2799;
  htim4.Init.ClockDivision = TIM_CLOCKDIVISION_DIV1;
  htim4.Init.AutoReloadPreload = TIM_AUTORELOAD_PRELOAD_DISABLE;
  if (HAL_TIM_Base_Init(&htim4) != HAL_OK)
  {
    Error_Handler();
  }
  sClockSourceConfig.ClockSource = TIM_CLOCKSOURCE_INTERNAL;
  if (HAL_TIM_ConfigClockSource(&htim4, &sClockSourceConfig) != HAL_OK)
  {
    Error_Handler();
  }
  if (HAL_TIM_PWM_Init(&htim4) != HAL_OK)
  {
    Error_Handler();
  }
  sMasterConfig.MasterOutputTrigger = TIM_TRGO_RESET;
  sMasterConfig.MasterSlaveMode = TIM_MASTERSLAVEMODE_DISABLE;
  if (HAL_TIMEx_MasterConfigSynchronization(&htim4, &sMasterConfig) != HAL_OK)
  {
    Error_Handler();
  }
  sConfigOC.OCMode = TIM_OCMODE_PWM1;
  sConfigOC.Pulse = 0;
  sConfigOC.OCPolarity = TIM_OCPOLARITY_HIGH;
  sConfigOC.OCFastMode = TIM_OCFAST_DISABLE;
  if (HAL_TIM_PWM_ConfigChannel(&htim4, &sConfigOC, TIM_CHANNEL_1) != HAL_OK)
  {
    Error_Handler();
  }
  if (HAL_TIM_PWM_ConfigChannel(&htim4, &sConfigOC, TIM_CHANNEL_2) != HAL_OK)
  {
    Error_Handler();
  }
  if (HAL_TIM_PWM_ConfigChannel(&htim4, &sConfigOC, TIM_CHANNEL_3) != HAL_OK)
  {
    Error_Handler();
  }
  if (HAL_TIM_PWM_ConfigChannel(&htim4, &sConfigOC, TIM_CHANNEL_4) != HAL_OK)
  {
    Error_Handler();
  }
  HAL_TIM_MspPostInit(&htim4);

}

static void MX_USART1_UART_Init(void)
{

  LL_USART_InitTypeDef USART_InitStruct = {0};

  LL_GPIO_InitTypeDef GPIO_InitStruct = {0};

  /* Peripheral clock enable */
  LL_APB2_GRP1_EnableClock(LL_APB2_GRP1_PERIPH_USART1);

  LL_APB2_GRP1_EnableClock(LL_APB2_GRP1_PERIPH_GPIOA);
  /**USART1 GPIO Configuration
  PA9   ------> USART1_TX
  PA10   ------> USART1_RX
  */
  GPIO_InitStruct.Pin = LL_GPIO_PIN_9;
  GPIO_InitStruct.Mode = LL_GPIO_MODE_ALTERNATE;
  GPIO_InitStruct.Speed = LL_GPIO_SPEED_FREQ_HIGH;
  GPIO_InitStruct.OutputType = LL_GPIO_OUTPUT_PUSHPULL;
  LL_GPIO_Init(GPIOA, &GPIO_InitStruct);

  GPIO_InitStruct.Pin = LL_GPIO_PIN_10;
  GPIO_InitStruct.Mode = LL_GPIO_MODE_FLOATING;
  LL_GPIO_Init(GPIOA, &GPIO_InitStruct);

  /* USART1 interrupt Init */
  NVIC_SetPriority(USART1_IRQn, NVIC_EncodePriority(NVIC_GetPriorityGrouping(),5, 0));
  NVIC_EnableIRQ(USART1_IRQn);

  /* USER CODE BEGIN USART1_Init 1 */
  // enable the RX and TX interrupts
  LL_USART_EnableIT_RXNE(USART1);
  LL_USART_EnableIT_TXE(USART1);

  /* USER CODE END USART1_Init 1 */
  USART_InitStruct.BaudRate = 115200;
  USART_InitStruct.DataWidth = LL_USART_DATAWIDTH_8B;
  USART_InitStruct.StopBits = LL_USART_STOPBITS_1;
  USART_InitStruct.Parity = LL_USART_PARITY_NONE;
  USART_InitStruct.TransferDirection = LL_USART_DIRECTION_TX_RX;
  USART_InitStruct.HardwareFlowControl = LL_USART_HWCONTROL_NONE;
  USART_InitStruct.OverSampling = LL_USART_OVERSAMPLING_16;
  LL_USART_Init(USART1, &USART_InitStruct);
  LL_USART_ConfigAsyncMode(USART1);
  LL_USART_Enable(USART1);

}

static void MX_DMA_Init(void)
{

  /* DMA controller clock enable */
  __HAL_RCC_DMA1_CLK_ENABLE();

  /* DMA interrupt init */
  /* DMA1_Channel1_IRQn interrupt configuration */
  HAL_NVIC_SetPriority(DMA1_Channel1_IRQn, 5, 0);
  HAL_NVIC_EnableIRQ(DMA1_Channel1_IRQn);
  /* DMA1_Channel2_IRQn interrupt configuration */
  HAL_NVIC_SetPriority(DMA1_Channel2_IRQn, 5, 0);
  HAL_NVIC_EnableIRQ(DMA1_Channel2_IRQn);
  /* DMA1_Channel5_IRQn interrupt configuration */
  HAL_NVIC_SetPriority(DMA1_Channel5_IRQn, 5, 0);
  HAL_NVIC_EnableIRQ(DMA1_Channel5_IRQn);
  /* DMA1_Channel7_IRQn interrupt configuration */
  HAL_NVIC_SetPriority(DMA1_Channel7_IRQn, 5, 0);
  HAL_NVIC_EnableIRQ(DMA1_Channel7_IRQn);

}

static void MX_GPIO_Init(void)
{
  GPIO_InitTypeDef GPIO_InitStruct = {0};

  /* GPIO Ports Clock Enable */
  __HAL_RCC_GPIOC_CLK_ENABLE();
  __HAL_RCC_GPIOD_CLK_ENABLE();
  __HAL_RCC_GPIOA_CLK_ENABLE();
  __HAL_RCC_GPIOB_CLK_ENABLE();

  /*Configure GPIO pin Output Level */
  HAL_GPIO_WritePin(GPIOC, GPIO_PIN_13, GPIO_PIN_RESET);

  /*Configure GPIO pin Output Level */
  HAL_GPIO_WritePin(GPIOB, GPIO_PIN_0|GPIO_PIN_1|GPIO_PIN_10|GPIO_PIN_11
                          |GPIO_PIN_12|GPIO_PIN_13|GPIO_PIN_14|GPIO_PIN_15
                          |GPIO_PIN_3|GPIO_PIN_4|GPIO_PIN_5, GPIO_PIN_RESET);

  /*Configure GPIO pin Output Level */
  HAL_GPIO_WritePin(GPIOA, GPIO_PIN_11|GPIO_PIN_12, GPIO_PIN_RESET);

  /*Configure GPIO pin : PC13 */
  GPIO_InitStruct.Pin = GPIO_PIN_13;
  GPIO_InitStruct.Mode = GPIO_MODE_OUTPUT_PP;
  GPIO_InitStruct.Pull = GPIO_NOPULL;
  GPIO_InitStruct.Speed = GPIO_SPEED_FREQ_LOW;
  HAL_GPIO_Init(GPIOC, &GPIO_InitStruct);

  /*Configure GPIO pins : PB0 PB1 PB10 PB11
                           PB12 PB13 PB14 PB15
                           PB3 PB4 PB5 */
  GPIO_InitStruct.Pin = GPIO_PIN_0|GPIO_PIN_1|GPIO_PIN_10|GPIO_PIN_11
                          |GPIO_PIN_12|GPIO_PIN_13|GPIO_PIN_14|GPIO_PIN_15
                          |GPIO_PIN_3|GPIO_PIN_4|GPIO_PIN_5;
  GPIO_InitStruct.Mode = GPIO_MODE_OUTPUT_PP;
  GPIO_InitStruct.Pull = GPIO_NOPULL;
  GPIO_InitStruct.Speed = GPIO_SPEED_FREQ_LOW;
  HAL_GPIO_Init(GPIOB, &GPIO_InitStruct);

  /*Configure GPIO pins : PA11 PA12 */
  GPIO_InitStruct.Pin = GPIO_PIN_11|GPIO_PIN_12;
  GPIO_InitStruct.Mode = GPIO_MODE_OUTPUT_PP;
  GPIO_InitStruct.Pull = GPIO_NOPULL;
  GPIO_InitStruct.Speed = GPIO_SPEED_FREQ_LOW;
  HAL_GPIO_Init(GPIOA, &GPIO_InitStruct);

}

void adc_reader_task(void const * argument)
{
  /* USER CODE BEGIN 5 */
  /* Infinite loop */
  for(;;)
  {

	  for(int i=0;i<num_irsensors;i++)
	  	  {
	  		  // set IR off
	  		  ir_led_off();

	  		  // select mux channel
	  		  set_mux_fl(i);
	  		  set_mux_fr(i);

	  		  //small delay
	  		  osDelay(1);

	  		  // get initial readings
	  		  data_fl_noise = adc_value[0];
	  		  data_fr_noise = adc_value[1];

	  		  // set IR on
	  		  ir_led_on();
	  		  //small delay
	  		  osDelay(1);

	  		  // get second readings
	  		  data_fl = adc_value[0];
	  		  data_fr = adc_value[1];

	  		  //calculate the real value and set it in ir_data array
	  		  data_fl_real = -1*(data_fl - data_fl_noise);
	  		  data_fr_real = -1*(data_fr - data_fr_noise);

	  		  //fill the IR data buffers
	  		  irdata_fl[i] = data_fl_real;
	  		  irdata_fr[i] = data_fr_real;

	  	  }

  }
  /* USER CODE END 5 */
}

void serial_reader_task(void const * argument)
{
  /* USER CODE BEGIN serial_reader_task */
	osEvent messageHandler;

		int numchr = 7;
		char data[numchr];
		int cmd_val=0;

  /* Infinite loop */
  for(;;)
  {

	  /*		Valid serial commands
	   * 	cop000e - open finger
	   * 	cosXXXe -  open finger with XXX speed
	   * 	ccpXXXe - close finger with position hold, XXX current threshold
	   * 	cccXXXe - close finger with current hold
	   * 	ccsXXXe - close finger with XXX speed
	   *    clpXXXe - left finger position roll
	   *    clfXXXe - move left finger forward with XXX speed
	   *    clrXXXe - move left finger reverse with XXX speed
	   *    crpXXXe - right finger position roll
	   *    crfXXXe - move right finger forward with XXX speed
	   *    crrXXXe - move right finger reverse with XXX speed
	   *    csl000e - stop left finger
	   *    csr000e - stop right finger
	   *    csg000e - stop gripper
	   *	csXXXXe - stop all
	   *	cbl000e - brake left finger
	   *    cbr000e - brake right finger
	   *    cbg000e - brake gripper
	   *	cbXXXXe - brake all
	   *	cgz000e - set zero for gripper gap
	   *	cggXXXe - set gripper gap to XXX ( min 0, Max 999)
	   *		  - Reset serial command queue
	   *
	   */

	  messageHandler = osMessageGet(myQueue01Handle, osWaitForever);

	  for(int i =0;i<(numchr-1);i++)
	  	  {
	  		  data[i]=data[i+1];
	  	  }
	  data[numchr-1] =messageHandler.value.p;
		  //check for start and end characters
		  if(data[0]=='c' && data[6]=='e')
		  {
			  // got command
			  // extract the numerical value
			  char val_ar[4]= {data[3], data[4], data[5], NULL};
			  cmd_val = atoi(val_ar);

			  switch(data[1])
			  {
			  case 'c': // CLOSE GRIPPER
			  	  	  {   //close in current control mode
			  	  		  if(data[2]=='c')
			  	  		  {
			  	  			gPid = 1;
			  	  		  }
			  	  		//close in position hold mode
			  	  		  else if(data[2]=='p')
			  	  		  {
			  	  			gForceThres = cmd_val;
			  	  			gPid = 2;
			  	  			close_gripper(100);
			  	  			startTick = HAL_GetTick();
			  	  		  }
			  	  		//close in speed control mode
			  	  		  else if(data[2]=='s')
			  	  		  {
			  	  			gPid = 3;
			  	  			close_gripper(cmd_val);
			  	  			startTick = HAL_GetTick();
			  	  		  }
			  	  	  }break;
			  case 's': // STOP MOTION
				  	  	// motors inputs disconnected, can move by hand
			  		  {
			  	  		  if(data[2]=='g')
			  	  		  {
			  	  			 stop_gripper(); // stop all motors
			  	  		  }
			  	  		  else if(data[2]=='l')
			  	  		  {
			  	  			stop_lf(); // stop left finger
			  	  		  }
			  	  		  else if(data[2]=='r')
			  	  		  {
			  	  			stop_rf(); // stop right finger
			  	  		  }

			  		 }break;
			  case 'b': // BRAKE MOTORS
				  	  	// motor inputs are shorted. cannot move by hand
			  		  {
			  	  		  if(data[2]=='g')
			  	  		  {
			  	  			brake_gripper(); // brake all motors
			  	  		  }
			  	  		  else if(data[2]=='l')
			  	  		  {
			  	  			  brake_lf(); // brake left finger
			  	  		  }
			  	  		  else if(data[2]=='r')
			  	  		  {
			  	  			  brake_rf(); // brake right finger
			  	  		  }
			  		 }break;
			  case 'o': // OPEN THE GRIPPPER
			  		  {
			  	  		  if(data[2]=='p')
			  	  		  {
			  	  			gPid = 0;
			  	  			open_gripper(100); // open fully
			  	  			sendData("open");
			  	  		  }
			  	  		  else if(data[2]=='s')
			  	  		  {
			  	  			gPid = 0;
			  	  			open_gripper(cmd_val); // open with speed control
			  	  		  }
			  		 }break;
			  case 'r': // UP DOWN CONTROL OF RIGHT FINGER
			  		  {
			  	  		  if(data[2]=='p')
			  	  		  {
			  	  			//right finger position control
			  	  			rPid= 1;
			  	  			rPosDesired =  scale_val(cmd_val,0,200,RFMinPos,RFMaxPos);
			  	  		  }

			  	  		  else if(data[2]=='f')
			  	  		  {
			  	  			  // move right finger at forward velocity
			  	  			move_rf(cmd_val);

			  	  		  }

			  	  		  else if(data[2]=='r')
			  	  		  {
			  	  			  // move right finger at reverse velocity
			  	  			move_rb(cmd_val);
			  	  			rPid=0;

			  	  		  }

			  		 }break;
			  case 'l': // UP DOWN CONTROL OF LEFT FINGER
			  		  {
			  	  		  if(data[2]=='p')
			  	  		  {
			  	  			  //left finger position control
			  	  			lPid = 1;
			  	  			lPosDesired = scale_val(cmd_val,0,200,LFMinPos,LFMaxPos);
			  	  		  }

			  	  		  else if(data[2]=='f')
			  	  		  {
			  	  			  // move left finger at forward velocity
			  	  			move_lf(cmd_val);
			  	  		  }

			  	  		  else if(data[2]=='r')
			  	  		  {
			  	  			  // move left finger at reverse velocity
			  	  			move_lb(cmd_val);
			  	  			lPid=0;
			  	  		  }

			  		 }break;
			  case 'g': // Gripper gap control
			  			  	  	  {
			  			  	  		  //M1z = 234;
			  			  	  		  if(data[2]=='z')
			  			  	  		  {
			  			  	  			  //get the current gap
			  			  	  		int gripper_gap = (M1MaxPos-adc_value[2])+(M2MaxPos-adc_value[3])-(M1MinPos+M2MinPos);
			  			  	  		gmin = gripper_gap-55;
			  			  	  			  //M1z=0;
			  			  	  			  //M2z =0;
			  			  	  			  // calibrate gripper gaps
			  			  	  			  //for(int j=0;j<100;j++){
			  			  	  				  //get the current gripper positions and average them
			  			  	  				//  M1z = M1z+adc_value[2];
			  			  	  				 // M2z = M2z+adc_value[3];

			  			  	  			  //}
			  			  	  			 // M1z = M1z/100.0;
			  			  	  			 // M2z = M2z/100.0;

			  			  	  		  }
			  			  	  		  else if(data[2]=='g')
			  			  	  		  {
			  			  	  			//int gmin = (M1MinPos+M2MinPos); // TODO - can we estimate this from zero position calibration
			  			  	  			//int gmax = (M1MaxPos-M1MinPos)+(M2MaxPos-M2MinPos)-(M1MinPos+M2MinPos);
			  			  	  			  gripperGapcmd = scale_val(cmd_val,0,999,gmin,gmax);;
					  			  	  			  gPid = 4;

			  			  	  		  }

			  			  	  	  }break;

			  }
		  }

	    osDelay(1);
    //HAL_UART_Transmit(&huart1, UART1_rxBuffer, 5, 100);

  }
  /* USER CODE END serial_reader_task */
}

/* pid_timer function */
void pid_timer(void const * argument)
{
	// ENSURE THAT THE MOTORS DOES NOT GO BEYOND MINIMUM/MAX POSITIONS
	//( if exceeded MAXPos, dont allow forward motion,
	//	but only allow reverse motion, similar with MINPos, for all motors)
	//
	// lfw is set only when left finger is moving forward
	// so check whether L finger goes beyond and stop the motion only
	// when L finger is moving forward (and then set lfw=0).
	// if we dont use flags like lfw, lrw, rfw, rrw, mgo, mgc, it will get
	// stuck at a position and cant move

  if((adc_value[6]>LFMaxPos) && (lfw==1))
	{
		osSemaphoreWait(BinSemHandle, osWaitForever);

		__HAL_TIM_SetCompare(&htim4, TIM_CHANNEL_1, 0);
		__HAL_TIM_SetCompare(&htim4, TIM_CHANNEL_2, 0);
		lfw=0;
		osSemaphoreRelease(BinSemHandle);
	}
	else if((adc_value[6]<LFMinPos) && (lrw==1))
	{
		osSemaphoreWait(BinSemHandle, osWaitForever);

		__HAL_TIM_SetCompare(&htim4, TIM_CHANNEL_1, 0);
		__HAL_TIM_SetCompare(&htim4, TIM_CHANNEL_2, 0);
		lrw=0;
		osSemaphoreRelease(BinSemHandle);
	}

	if((adc_value[5]>RFMaxPos) && (rfw==1))
		{
			osSemaphoreWait(BinSemHandle, osWaitForever);

			__HAL_TIM_SetCompare(&htim4, TIM_CHANNEL_3, 0);
			__HAL_TIM_SetCompare(&htim4, TIM_CHANNEL_4, 0);
			rfw=0;
			osSemaphoreRelease(BinSemHandle);
		}
		else if((adc_value[5]<RFMinPos) && (rrw==1))
		{
			osSemaphoreWait(BinSemHandle, osWaitForever);

			__HAL_TIM_SetCompare(&htim4, TIM_CHANNEL_3, 0);
			__HAL_TIM_SetCompare(&htim4, TIM_CHANNEL_4, 0);
			rrw=0;
			osSemaphoreRelease(BinSemHandle);
		}

	if((adc_value[3]<M1MinPos) && (mgo==1) &&(adc_value[4]<M2MinPos))
		{
			osSemaphoreWait(BinSemHandle, osWaitForever);

			__HAL_TIM_SetCompare(&htim1, TIM_CHANNEL_1, 0);
			HAL_GPIO_WritePin(GPIOB, GPIO_PIN_3, GPIO_PIN_RESET);
			HAL_GPIO_WritePin(GPIOB, GPIO_PIN_4, GPIO_PIN_RESET);
			mgo=0;
			osSemaphoreRelease(BinSemHandle);
		}
		else if((adc_value[3]>M1MaxPos) && (mgc==1) &&(adc_value[4]>M2MaxPos))
		{
			osSemaphoreWait(BinSemHandle, osWaitForever);

			__HAL_TIM_SetCompare(&htim1, TIM_CHANNEL_1, 0);
			HAL_GPIO_WritePin(GPIOB, GPIO_PIN_3, GPIO_PIN_RESET);
			HAL_GPIO_WritePin(GPIOB, GPIO_PIN_4, GPIO_PIN_RESET);
			mgc=0;
			osSemaphoreRelease(BinSemHandle);
		}

	//PID position control for LFinger
	if(lPid==1)
	{
		// get the commanded position
		// get current position
		// calculate error
		int error = lPosDesired - adc_value[6];
		l_error_integral = l_error_integral + error;
		int l_error_derivative = error  - l_error_prev;
		// calculate control value
		int l_ctrl   = (l_Kp * error) + ((l_Kd/pid_time_period)* l_error_derivative) + (l_Ki*l_error_integral*pid_time_period);
		// ensure control value is within limits
		l_ctrl = clamp_val(abs(l_ctrl), 20, 80);// constrain to max 80 % PWM since its a 6V motor at 12V
		//HAL_UART_Transmit(&huart1, (uint8_t*)buffer, sprintf(buffer, "PID L %d \t %d \t %d \t %d\n", lPosDesired, adc_value[6],error, l_ctrl), 100);
		// move motors
		if(error>lPosDelta)
		{
			//forward
			move_lf(l_ctrl);
			//HAL_UART_Transmit(&huart1, (uint8_t*)buffer, sprintf(buffer, "MOVE FWD %d\n", 1), 100);
		}
		else if(error<(-1*lPosDelta))
		{
			move_lb(l_ctrl);
			//HAL_UART_Transmit(&huart1, (uint8_t*)buffer, sprintf(buffer, "MOVE BACK %d\n", 1), 100);
		}
		else
		{
			brake_lf();
			l_error_integral = l_error_prev;
			lPid=0;
		//	HAL_UART_Transmit(&huart1, (uint8_t*)buffer, sprintf(buffer, "REACHED L %d \t %d \t %d\n", lPosDesired, l_ctrl, error), 100);

		}
	}
	//PID position control for RFinger
	if(rPid==1)
	{
		// get the commanded position
		// get current position
		// calculate error
		int error = rPosDesired - adc_value[5];
		r_error_integral = r_error_integral + error;
		int r_error_derivative = error  - r_error_prev;
		// calculate control value
		int r_ctrl   = (r_Kp * error) + ((r_Kd/pid_time_period)* r_error_derivative) + (r_Ki*r_error_integral*pid_time_period);
		// ensure control value is within limits
		r_ctrl = clamp_val(abs(r_ctrl), 20, 80);// constrain to max 80 % PWM since its a 6V motor at 12V
		//HAL_UART_Transmit(&huart1, (uint8_t*)buffer, sprintf(buffer, "PID L %d \t %d \t %d \t %d\n", lPosDesired, adc_value[6],error, l_ctrl), 100);
		// move motors
		if(error>rPosDelta)
		{
			//forward
			move_rf(r_ctrl);
			//HAL_UART_Transmit(&huart1, (uint8_t*)buffer, sprintf(buffer, "MOVE FWD %d\n", 1), 100);
		}
		else if(error<(-1*rPosDelta))
		{
			move_rb(r_ctrl);
			//HAL_UART_Transmit(&huart1, (uint8_t*)buffer, sprintf(buffer, "MOVE BACK %d\n", 1), 100);
		}
		else
		{
			brake_rf();
			r_error_integral = r_error_prev;
			rPid=0;
		//	HAL_UART_Transmit(&huart1, (uint8_t*)buffer, sprintf(buffer, "REACHED L %d \t %d \t %d\n", lPosDesired, l_ctrl, error), 100);

		}
	}

	// control of gripper motors
	if(gPid==2)
	{  // for mode in which gripper close, check for current and hold position if current> threshold
		// check for current
		if(adc_value[2]>gForceThres)
		{	// verify again after a short delay
			osDelay(2);
			if(adc_value[2]>gForceThres)
			{
				// brake
				brake_gripper();
				gPid = 0;
			}

		}
		// check for timeout
		if( abs(HAL_GetTick()-startTick)>gTimeOut)
		{
			// brake
			brake_gripper();
			gPid = 0;
		}
	}
	 if(gPid==3)
	{ // for velocity move mode, no current checking --<<< WARNING
		// check for timeout
				if( abs(HAL_GetTick()-startTick)>gTimeOut)
				{
					// brake
					brake_gripper();
					gPid = 0;
				}
	}
	 if(gPid==4)
	 	 {
		 int gripper_gap = (M1MaxPos-adc_value[2])+(M2MaxPos-adc_value[3])-(M1MinPos+M2MinPos);
	 		 int gap_error = gripperGapcmd - gripper_gap;
	 		// TODO  - implement PID
	 		 g_error_integral = g_error_integral + gap_error;
	 		 		int g_error_derivative = gap_error  - g_error_prev;
	 		 		// calculate control value
	 		 		int g_ctrl   = (g_Kp * gap_error) + ((g_Kd/pid_time_period)* g_error_derivative) + (g_Ki*g_error_integral*pid_time_period);

	 		 		g_ctrl = clamp_val(abs(g_ctrl), 75, 100);
	 		 		if(gap_error> gripperGapDelta)
	 		 		{
	 		 			open_gripper(g_ctrl);
	 		 		}
	 		 		else if(gap_error<(-1*gripperGapDelta))
	 		 		{
	 		 			close_gripper(g_ctrl);
	 		 		}
	 		 		else
	 		 		{
	 		 			brake_gripper();
	 		 		//	gPid = 0;
	 		 		}
	 	 }
  /* USER CODE END pid_timer */
}

/* status_update_timer function */
void status_update_timer(void const * argument)
{
  /* USER CODE BEGIN status_update_timer */

	/* Serial Data Format
	 *  M1-2_current, M1Pos, M2Pos, RFPos, LFPos, irsens_left[10], irsens_right[10]
	 *
	 */
	//HAL_GPIO_TogglePin(GPIOB, GPIO_PIN_13);

	int gripper_gap = (M1MaxPos-adc_value[2])+(M2MaxPos-adc_value[3])-(M1MinPos+M2MinPos);
	// 3600 when closed
	//6456 when fully open
	//int gmin = (M1MinPos+M2MinPos); // TODO - can we estimate this from zero position calibration
	//int gmax = (M1MaxPos-M1MinPos)+(M2MaxPos-M2MinPos)-(M1MinPos+M2MinPos);
gripper_gap =scale_val(gripper_gap, gmin, gmax, 0, 999);
	char MSG[180];
/*
		sprintf(MSG, "s\t%d\t%d\t%d\t%d\t%d\t%d\t%d\t%d\t%d\t%d\t%d\t%d\t%d\t%d\t%d\t%d\t%d\t%d\t%d\t%d\t%d\t%d\t%d\t%d\t%d\t%d\te\n",
				adc_value[2], adc_value[3], adc_value[4], scale_val(adc_value[5],RFMinPos,RFMaxPos,0,200), scale_val(adc_value[6],LFMinPos,LFMaxPos,0,200),
					irdata_fr[0],irdata_fr[1], irdata_fr[2], irdata_fr[3], irdata_fr[4], irdata_fr[5], irdata_fr[6],irdata_fr[7],irdata_fr[8],irdata_fr[9],
					irdata_fl[0],irdata_fl[1], irdata_fl[2], irdata_fl[3], irdata_fl[4], irdata_fl[5], irdata_fl[6],irdata_fl[7],irdata_fl[8],irdata_fl[9], gripper_gap);

*/

	sprintf(MSG, "s\t%d\t%d\t%d\t%d\t%d\t%d\te\n",
					adc_value[2], adc_value[3], adc_value[4],
					scale_val(adc_value[5],RFMinPos,RFMaxPos,0,200), scale_val(adc_value[6],LFMinPos,LFMaxPos,0,200),
					gripper_gap);

	sendData(MSG);
	//HAL_UART_Transmit_IT(&huart1, MSG, strlen(MSG));

  /* USER CODE END status_update_timer */
}

 /**
  * @brief  Period elapsed callback in non blocking mode
  * @note   This function is called  when TIM3 interrupt took place, inside
  * HAL_TIM_IRQHandler(). It makes a direct call to HAL_IncTick() to increment
  * a global variable "uwTick" used as application time base.
  * @param  htim : TIM handle
  * @retval None
  */
void HAL_TIM_PeriodElapsedCallback(TIM_HandleTypeDef *htim)
{
  if (htim->Instance == TIM3) {
    HAL_IncTick();
  }
}

void Error_Handler(void)
{
}

/************************ (C) COPYRIGHT STMicroelectronics *****END OF FILE****/
